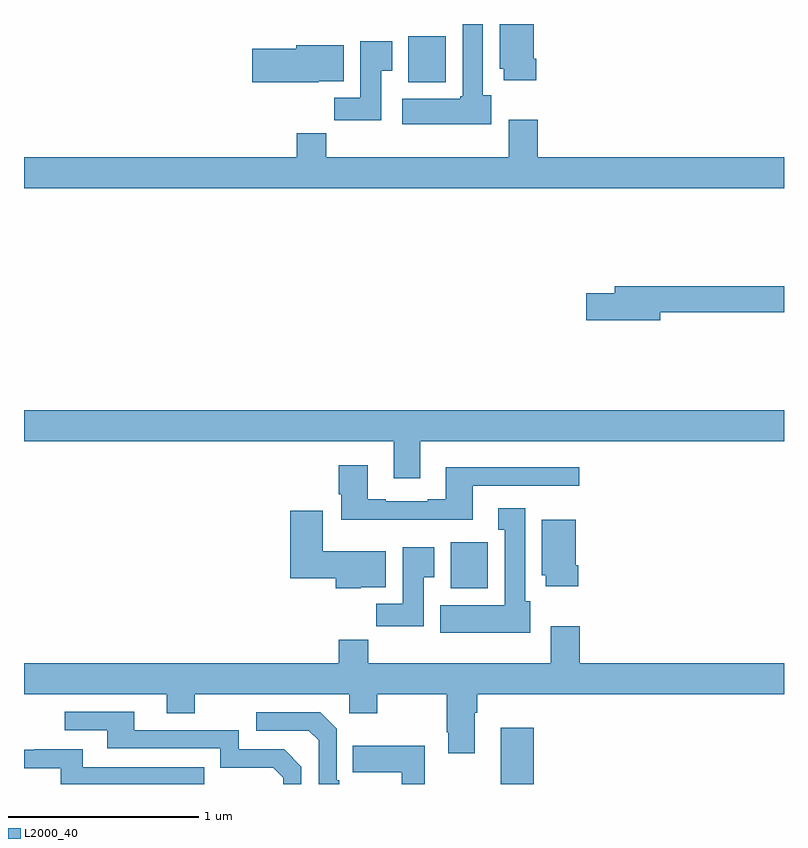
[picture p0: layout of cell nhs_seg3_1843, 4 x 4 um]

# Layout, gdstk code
import gdstk
lib = gdstk.Library(unit=1e-6, precision=1e-09)
def R(c, l, rs):  # rectangles x0, y0, x1, y1
    for r in rs: c.add(gdstk.rectangle(r[:2], r[2:], *l))
def P(c, l, *ps):  # polygons
    for p in ps: c.add(gdstk.Polygon(p, *l))
L2000_40 = (2000, 40)

nhs_seg3_1843 = lib.new_cell('nhs_seg3_1843')
R(nhs_seg3_1843, L2000_40, [(207.509,744.4,207.682,744.697), (207.245,745.43,207.442,745.672), (207.023,748.094,207.22,748.336)])
P(nhs_seg3_1843, L2000_40, [(207.46,748.026),(207.415,748.026),(207.415,748.4),(207.308,748.4),(207.308,748.02),(207.295,748.02),(207.295,748.006),(206.991,748.006),(206.991,747.872),(207.46,747.872)],
  [(207.695,748.216),(207.682,748.216),(207.682,748.4),(207.503,748.4),(207.503,748.164),(207.524,748.164),(207.524,748.104),(207.695,748.104)],
  [(206.881,748.153),(206.938,748.153),(206.938,748.309),(206.771,748.309),(206.771,748.012),(206.632,748.012),(206.632,747.894),(206.881,747.894)],
  [(206.55,748.1),(206.683,748.1),(206.683,748.288),(206.432,748.288),(206.432,748.271),(206.202,748.271),(206.202,748.094),(206.55,748.094)],
  [(209,747.7),(207.704,747.7),(207.704,747.895),(207.551,747.895),(207.551,747.7),(206.591,747.7),(206.591,747.824),(206.435,747.824),(206.435,747.7),(205,747.7),(205,747.536),(209,747.536)],
  [(208.348,746.884),(209,746.884),(209,747.02),(208.109,747.02),(208.109,746.984),(207.96,746.984),(207.96,746.842),(208.348,746.842)],
  [(207.085,746.204),(209,746.204),(209,746.368),(205,746.368),(205,746.204),(206.945,746.204),(206.945,746.01),(207.085,746.01)],
  [(207.361,745.971),(207.922,745.971),(207.922,746.068),(207.221,746.068),(207.221,745.9),(207.125,745.9),(207.125,745.887),(206.905,745.887),(206.905,745.9),(206.809,745.9),(206.809,746.077),(206.657,746.077),(206.657,745.924),(206.669,745.924),(206.669,745.79),(207.361,745.79)],
  [(207.664,745.362),(207.637,745.362),(207.637,745.852),(207.497,745.852),(207.497,745.739),(207.53,745.739),(207.53,745.342),(207.191,745.342),(207.191,745.196),(207.664,745.196)],
  [(206.772,745.436),(206.905,745.436),(206.905,745.624),(206.572,745.624),(206.572,745.837),(206.402,745.837),(206.402,745.484),(206.642,745.484),(206.642,745.43),(206.772,745.43)],
  [(207.917,745.552),(207.904,745.552),(207.904,745.792),(207.725,745.792),(207.725,745.5),(207.746,745.5),(207.746,745.44),(207.917,745.44)],
  [(207.103,745.489),(207.16,745.489),(207.16,745.645),(206.993,745.645),(206.993,745.348),(206.854,745.348),(206.854,745.23),(207.103,745.23)],
  [(207.373,744.776),(207.386,744.776),(207.386,744.872),(209,744.872),(209,745.036),(207.926,745.036),(207.926,745.231),(207.773,745.231),(207.773,745.036),(206.813,745.036),(206.813,745.16),(206.657,745.16),(206.657,745.036),(205,745.036),(205,744.872),(205.751,744.872),(205.751,744.773),(205.899,744.773),(205.899,744.872),(206.712,744.872),(206.712,744.773),(206.859,744.773),(206.859,744.872),(207.226,744.872),(207.226,744.673),(207.233,744.673),(207.233,744.561),(207.373,744.561)],
  [(206.46,744.492),(206.37,744.582),(206.13,744.582),(206.13,744.684),(205.579,744.684),(205.579,744.78),(205.215,744.78),(205.215,744.684),(205.439,744.684),(205.439,744.588),(206.034,744.588),(206.034,744.485),(206.311,744.485),(206.364,744.432),(206.364,744.4),(206.46,744.4)],
  [(206.659,744.421),(206.646,744.421),(206.646,744.69),(206.559,744.777),(206.223,744.777),(206.223,744.681),(206.499,744.681),(206.55,744.63),(206.55,744.4),(206.659,744.4)],
  [(207.109,744.601),(206.731,744.601),(206.731,744.461),(206.988,744.461),(206.988,744.4),(207.109,744.4)],
  [(205.949,744.489),(205.309,744.489),(205.309,744.583),(205.055,744.583),(205.055,744.579),(205,744.579),(205,744.483),(205.194,744.483),(205.194,744.4),(205.949,744.4)])

lib.write_gds('nhs_seg3_1843.gds')
